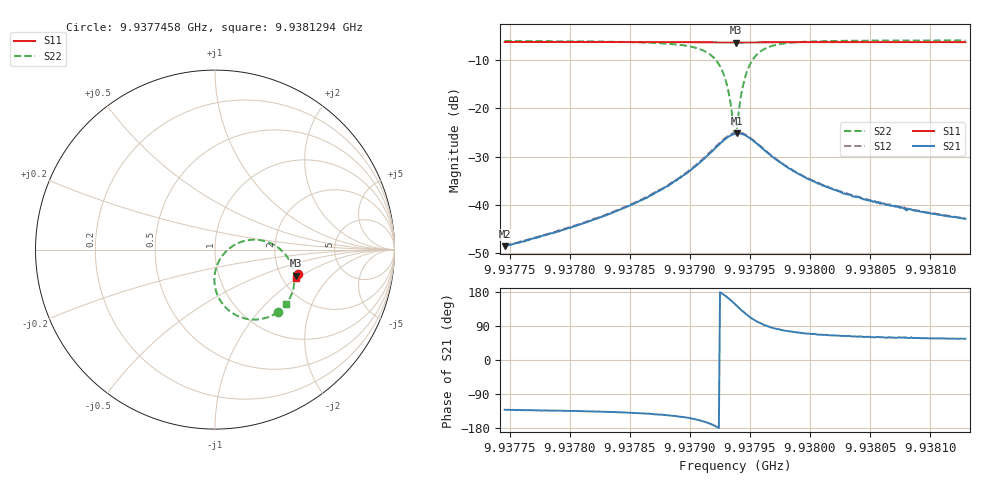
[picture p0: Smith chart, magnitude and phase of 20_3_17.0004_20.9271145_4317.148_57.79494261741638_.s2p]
#  HZ  S  RI  R  50.00
! Rohde & Schwarz Vector Network Analyzer
! Rohde-Schwarz,ZNB20-2Port,1311601062101988,3.16
! Created: UTC 3/20/2024, 10:52:58 PM
! freq[Hz]  re:S11  im:S11  re:S21  im:S21  re:S12  im:S12  re:S22  im:S22
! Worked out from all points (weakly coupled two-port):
!   401 points, 9.9377458 GHz to 9.9381294 GHz, reference 50 ohm
!   highest |S21| = -25.21 dB at 9.9379395 GHz (marker M1); lowest = -48.5 dB at 9.9377458 GHz (marker M2)
!   lowest |S11| = -6.5 dB at 9.9379385 GHz (marker M3), VSWR 2.80, Z = 121 - j44.9 ohm
!   |S11| at or under -10 dB: nowhere
!   |S22| runs from -25.4 to -6.0 dB; largest |S21 - S12| = 0.0023
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9.93774576e9  0.4622 -0.1349  -0.00247 -0.00283  -0.00253 -0.00283  0.351 -0.3469
9.93781002e9  0.4604 -0.1395  -0.0045 -0.00452  -0.00468 -0.00454  0.3293 -0.3612
9.93784838e9  0.459 -0.1422  -0.00729 -0.00633  -0.00747 -0.00637  0.3027 -0.3737
9.93787427e9  0.4581 -0.1443  -0.0113 -0.00819  -0.0116 -0.0083  0.2679 -0.3848
9.93790496e9  0.456 -0.1467  -0.0232 -0.0099  -0.0239 -0.00995  0.1674 -0.3838
9.93792031e9  0.4537 -0.1474  -0.0374 -0.00458  -0.0384 -0.00412  0.0585 -0.3218
9.93792606e9  0.4527 -0.1472  -0.0439 0.00234  -0.0452 0.00336  0.0149 -0.2562
9.9379299e9  0.452 -0.1464  -0.0472 0.0097  -0.0485 0.011  -0.00207 -0.1915
9.93793277e9  0.4517 -0.146  -0.0484 0.0165  -0.0493 0.0183  -0.000867 -0.1344
9.93793661e9  0.4515 -0.145  -0.0469 0.0267  -0.0474 0.0288  0.0274 -0.054
9.93793757e9  0.4515 -0.1448  -0.0459 0.0291  -0.0462 0.0312  0.0396 -0.036
9.93793853e9  0.4516 -0.1445  -0.0445 0.0315  -0.0447 0.0338  0.0539 -0.0183
9.93793949e9  0.4517 -0.1443  -0.0431 0.0339  -0.043 0.036  0.0695 -0.00263
9.93794332e9  0.4524 -0.1435  -0.0351 0.0411  -0.0346 0.0432  0.1451 0.0426
9.9379462e9  0.4531 -0.1431  -0.0282 0.0441  -0.0273 0.0458  0.2053 0.0547
9.93795004e9  0.454 -0.143  -0.0192 0.0448  -0.018 0.0461  0.2783 0.0471
9.93795579e9  0.4551 -0.1435  -0.00861 0.0419  -0.00736 0.0428  0.3574 0.00716
9.93797113e9  0.4565 -0.1457  0.00366 0.0296  0.00441 0.0299  0.4342 -0.1093
9.93800182e9  0.4564 -0.1492  0.00645 0.0165  0.00693 0.0166  0.4362 -0.2183
9.93802868e9  0.4558 -0.1514  0.00582 0.0118  0.00633 0.0117  0.4238 -0.2562
9.93806608e9  0.4548 -0.1541  0.00506 0.00854  0.00518 0.00856  0.4104 -0.2824
9.93812937e9  0.4529 -0.1586  0.00401 0.00597  0.00416 0.00595  0.3958 -0.3043
